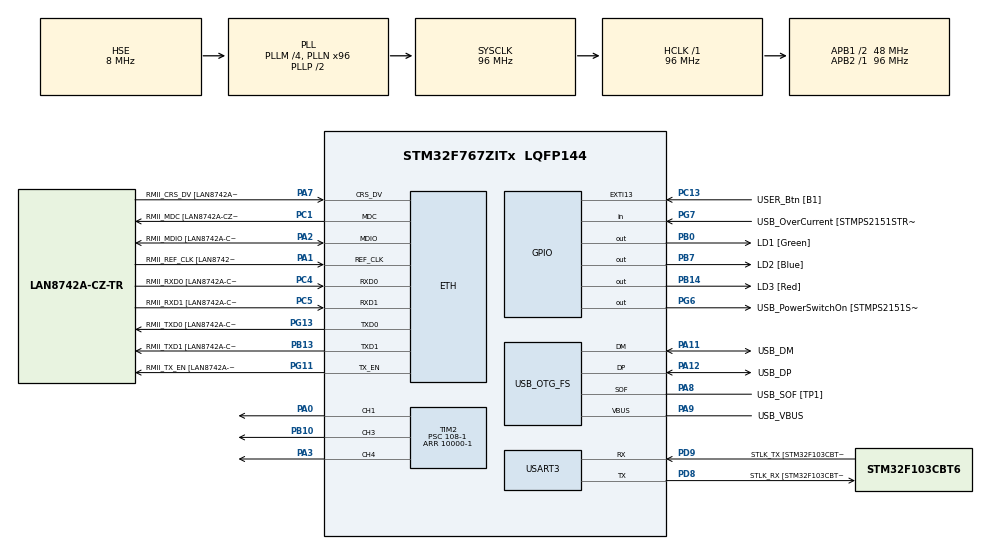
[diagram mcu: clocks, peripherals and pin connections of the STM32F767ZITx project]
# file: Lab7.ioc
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ETH.MediaInterface=HAL_ETH_RMII_MODE
ETH.PHY_Name=LAN8742A_PHY_ADDRESS
ETH.PHY_Value=0
ETH.PhyAddress=0
Mcu.Family=STM32F7
Mcu.Name=STM32F767ZITx
Mcu.Package=LQFP144
NVIC.PriorityGroup=NVIC_PRIORITYGROUP_4
PA0/WKUP.GPIO_Speed=GPIO_SPEED_FREQ_VERY_HIGH
PA0/WKUP.Signal=S_TIM2_CH1_ETR
PA1.GPIO_Label=RMII_REF_CLK [LAN8742A-CZ-TR_REFCLK0]
PA1.Mode=RMII
PA1.Signal=ETH_REF_CLK
PA10.GPIO_Label=USB_ID
PA10.Signal=USB_OTG_FS_ID
PA11.GPIO_Label=USB_DM
PA11.Mode=Device_Only
PA11.Signal=USB_OTG_FS_DM
PA12.GPIO_Label=USB_DP
PA12.Mode=Device_Only
PA12.Signal=USB_OTG_FS_DP
PA13.GPIO_Label=TMS
PA13.Mode=Serial_Wire
PA13.Signal=SYS_JTMS-SWDIO
PA14.GPIO_Label=TCK
PA14.Mode=Serial_Wire
PA14.Signal=SYS_JTCK-SWCLK
PA2.GPIO_Label=RMII_MDIO [LAN8742A-CZ-TR_MDIO]
PA2.Mode=RMII
PA2.Signal=ETH_MDIO
PA3.GPIO_PuPd=GPIO_NOPULL
PA3.GPIO_Speed=GPIO_SPEED_FREQ_VERY_HIGH
PA3.Signal=S_TIM2_CH4
PA7.GPIO_Label=RMII_CRS_DV [LAN8742A-CZ-TR_CRS_DV]
PA7.Mode=RMII
PA7.Signal=ETH_CRS_DV
PA8.GPIO_Label=USB_SOF [TP1]
PA8.Mode=Activate_SOF_FS
PA8.Signal=USB_OTG_FS_SOF
PA9.GPIO_Label=USB_VBUS
PA9.Mode=Activate_VBUS
PA9.Signal=USB_OTG_FS_VBUS
PB0.GPIO_Label=LD1 [Green]
PB0.Signal=GPIO_Output
PB10.GPIO_Speed=GPIO_SPEED_FREQ_VERY_HIGH
PB10.Signal=S_TIM2_CH3
PB13.GPIO_Label=RMII_TXD1 [LAN8742A-CZ-TR_TXD1]
PB13.Mode=RMII
PB13.Signal=ETH_TXD1
PB14.GPIO_Label=LD3 [Red]
PB14.Signal=GPIO_Output
PB3.GPIO_Label=SWO
PB3.Signal=SYS_JTDO-SWO
PB7.GPIO_Label=LD2 [Blue]
PB7.Signal=GPIO_Output
PC1.GPIO_Label=RMII_MDC [LAN8742A-CZ-TR_MDC]
PC1.Mode=RMII
PC1.Signal=ETH_MDC
PC13.GPIO_Label=USER_Btn [B1]
PC13.Signal=GPXTI13
PC14/OSC32_IN.Mode=LSE-External-Oscillator
PC14/OSC32_IN.Signal=RCC_OSC32_IN
PC15/OSC32_OUT.Mode=LSE-External-Oscillator
PC15/OSC32_OUT.Signal=RCC_OSC32_OUT
PC4.GPIO_Label=RMII_RXD0 [LAN8742A-CZ-TR_RXD0]
PC4.Mode=RMII
PC4.Signal=ETH_RXD0
PC5.GPIO_Label=RMII_RXD1 [LAN8742A-CZ-TR_RXD1]
PC5.Mode=RMII
PC5.Signal=ETH_RXD1
PD8.GPIO_Label=STLK_RX [STM32F103CBT6_PA3]
PD8.Mode=Asynchronous
PD8.Signal=USART3_TX
PD9.GPIO_Label=STLK_TX [STM32F103CBT6_PA2]
PD9.Mode=Asynchronous
PD9.Signal=USART3_RX
PG11.GPIO_Label=RMII_TX_EN [LAN8742A-CZ-TR_TXEN]
PG11.Mode=RMII
PG11.Signal=ETH_TX_EN
PG13.GPIO_Label=RMII_TXD0 [LAN8742A-CZ-TR_TXD0]
PG13.Mode=RMII
PG13.Signal=ETH_TXD0
PG6.GPIO_Label=USB_PowerSwitchOn [STMPS2151STR_EN]
PG6.Signal=GPIO_Output
PG7.GPIO_Label=USB_OverCurrent [STMPS2151STR_FAULT]
PG7.Signal=GPIO_Input
PH0/OSC_IN.GPIO_Label=MCO [STM32F103CBT6_PA8]
PH0/OSC_IN.Mode=HSE-External-Clock-Source
PH0/OSC_IN.Signal=RCC_OSC_IN
PH1/OSC_OUT.Mode=HSE-External-Clock-Source
PH1/OSC_OUT.Signal=RCC_OSC_OUT
ProjectManager.HeapSize=0x200
ProjectManager.StackSize=0x400
ProjectManager.TargetToolchain=CMake
RCC.48MHZClocksFreq_Value=24000000
RCC.AHBFreq_Value=96000000
RCC.APB1CLKDivider=RCC_HCLK_DIV2
RCC.APB1Freq_Value=48000000
RCC.APB1TimFreq_Value=96000000
RCC.APB2Freq_Value=96000000
RCC.APB2TimFreq_Value=96000000
RCC.CortexFreq_Value=96000000
RCC.HCLKFreq_Value=96000000
RCC.HSE_VALUE=8000000
RCC.HSI_VALUE=16000000
RCC.PLLM=4
RCC.PLLMUL=RCC_PLL_MUL9
RCC.PLLN=96
RCC.PLLQ=4
RCC.PRESCALERUSB=RCC_USBCLKSOURCE_PLL_DIV1_5
RCC.SYSCLKFreq_VALUE=96000000
RCC.SYSCLKSource=RCC_SYSCLKSOURCE_PLLCLK
RCC.SYSCLKSourceVirtual=RCC_SYSCLKSOURCE_PLLCLK
RCC.USBFreq_Value=48000000
RCC.VCOOutputFreq_Value=192000000
SH.S_TIM2_CH1_ETR.0=TIM2_CH1,PWM Generation1 CH1
SH.S_TIM2_CH3.0=TIM2_CH3,PWM Generation3 CH3
SH.S_TIM2_CH4.0=TIM2_CH4,PWM Generation4 CH4
TIM2.Channel-PWM\ Generation1\ CH1=TIM_CHANNEL_1
TIM2.Channel-PWM\ Generation3\ CH3=TIM_CHANNEL_3
TIM2.Channel-PWM\ Generation4\ CH4=TIM_CHANNEL_4
TIM2.Period=10000-1
TIM2.Prescaler=108-1
TIM2.Pulse-PWM\ Generation3\ CH3=10000/4-1
USART3.VirtualMode-Asynchronous=VM_ASYNC
USB_OTG_FS.VirtualMode=Device_Only
VP_TIM2_VS_ClockSourceINT.Mode=Internal
board=NUCLEO-F767ZI

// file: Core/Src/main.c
/* USER CODE BEGIN Header */
/**
  ******************************************************************************
  * @file           : main.c
  * @brief          : Main program body
  ******************************************************************************
  * @attention
  *
  * Copyright (c) 2025 STMicroelectronics.
  * All rights reserved.
  *
  * This software is licensed under terms that can be found in the LICENSE file
  * in the root directory of this software component.
  * If no LICENSE file comes with this software, it is provided AS-IS.
  *
  ******************************************************************************
  */
/* USER CODE END Header */
#include "main.h"
#include "stm32f7xx_hal.h"
#include "stm32f7xx_hal_tim.h"
#include "string.h"

/* USER CODE BEGIN Includes */
#include <stdio.h>

/* USER CODE END Includes */

#if defined ( __ICCARM__ ) /*!< IAR Compiler */
#pragma location=0x2007c000
ETH_DMADescTypeDef  DMARxDscrTab[ETH_RX_DESC_CNT]; /* Ethernet Rx DMA Descriptors */
#pragma location=0x2007c0a0
ETH_DMADescTypeDef  DMATxDscrTab[ETH_TX_DESC_CNT]; /* Ethernet Tx DMA Descriptors */

#elif defined ( __CC_ARM )  /* MDK ARM Compiler */

__attribute__((at(0x2007c000))) ETH_DMADescTypeDef  DMARxDscrTab[ETH_RX_DESC_CNT]; /* Ethernet Rx DMA Descriptors */
__attribute__((at(0x2007c0a0))) ETH_DMADescTypeDef  DMATxDscrTab[ETH_TX_DESC_CNT]; /* Ethernet Tx DMA Descriptors */

#elif defined ( __GNUC__ ) /* GNU Compiler */

ETH_DMADescTypeDef DMARxDscrTab[ETH_RX_DESC_CNT] __attribute__((section(".RxDecripSection"))); /* Ethernet Rx DMA Descriptors */
ETH_DMADescTypeDef DMATxDscrTab[ETH_TX_DESC_CNT] __attribute__((section(".TxDecripSection")));   /* Ethernet Tx DMA Descriptors */
#endif

ETH_TxPacketConfig TxConfig;

ETH_HandleTypeDef heth;

TIM_HandleTypeDef htim2;

UART_HandleTypeDef huart3;

PCD_HandleTypeDef hpcd_USB_OTG_FS;

/* USER CODE BEGIN PV */

typedef struct {
  GPIO_TypeDef *port;
  uint16_t pin;
} LED_Pin;
LED_Pin led_pins[] = {{GPIOB, GPIO_PIN_10},
                       {GPIOA, GPIO_PIN_0},
                       {GPIOA, GPIO_PIN_3}};

float dutyCycle[] = {0, 0, 0};
uint8_t pwm[] = {0, 0, 0};

uint8_t pwmRed = 0;
uint8_t pwmGreen = 0;
uint8_t pwmBlue = 0;

char charInput = '\0';

char displayPwmTemplate[] = "r: %.2f\tg: %.2f\tb: %.2f\r\n";
char displayPwmRender[50] = "\0";

/* USER CODE END PV */

void SystemClock_Config(void);
static void MX_GPIO_Init(void);
static void MX_ETH_Init(void);
static void MX_USART3_UART_Init(void);
static void MX_USB_OTG_FS_PCD_Init(void);
static void MX_TIM2_Init(void);

/* USER CODE BEGIN 0 */

void incrementDutyCycle(int index) {
  (dutyCycle[index]) += 0.2;
  if ((dutyCycle[index]) > 1) {
    (dutyCycle[index]) = 0;
  }

  switch (index) {
    case 0:
      htim2.Instance -> CCR3 = (10000-1) * dutyCycle[index];
      break;
    case 1:
      htim2.Instance -> CCR1 = (10000-1) * dutyCycle[index];
      break;
    case 2:
      htim2.Instance -> CCR4 = (10000-1) * dutyCycle[index];
      break;
  }
}

/* USER CODE END 0 */

int main(void)
{

  /* MCU Configuration--------------------------------------------------------*/

  /* Reset of all peripherals, Initializes the Flash interface and the Systick. */
  HAL_Init();

  /* Configure the system clock */
  SystemClock_Config();

  /* Initialize all configured peripherals */
  MX_GPIO_Init();
  MX_ETH_Init();
  MX_USART3_UART_Init();
  MX_USB_OTG_FS_PCD_Init();
  MX_TIM2_Init();
  /* USER CODE BEGIN 2 */
  HAL_TIM_PWM_Start(&htim2, TIM_CHANNEL_1);
  HAL_TIM_PWM_Start(&htim2, TIM_CHANNEL_3);
  HAL_TIM_PWM_Start(&htim2, TIM_CHANNEL_4);
  /* USER CODE END 2 */

  /* Infinite loop */
  while (1)
  {

    /* USER CODE BEGIN 3 */

    HAL_UART_Receive(&huart3, (uint8_t*) &charInput, 1, 100);
    switch (charInput) {
      case 'r':
        incrementDutyCycle(0);
        break;
      case 'g':
        incrementDutyCycle(1);
        break;
      case 'b':
        incrementDutyCycle(2);
        break;
    }

    charInput = '\0';
    // HAL_Delay(100);
    // HAL_TIM_PWM_Stop(&htim2, TIM_CHANNEL_1);
    // HAL_TIM_PWM_Stop(&htim2, TIM_CHANNEL_3);
    // HAL_TIM_PWM_Stop(&htim2, TIM_CHANNEL_4);
    pwmRed = (GPIOB->IDR & GPIO_PIN_10) >> 10;
    pwmGreen = ((GPIOA->IDR & GPIO_PIN_0) >> 0) + 2;
    pwmBlue = ((GPIOA->IDR & GPIO_PIN_3) >> 3) + 4;

    sprintf(displayPwmRender, displayPwmTemplate, dutyCycle[0], dutyCycle[1], dutyCycle[2]);
    HAL_UART_Transmit(&huart3, (uint8_t*) displayPwmRender, strlen(displayPwmRender), 100);
  }
  /* USER CODE END 3 */
}

void SystemClock_Config(void)
{
  RCC_OscInitTypeDef RCC_OscInitStruct = {0};
  RCC_ClkInitTypeDef RCC_ClkInitStruct = {0};

  /** Configure LSE Drive Capability
  */
  HAL_PWR_EnableBkUpAccess();

  /** Configure the main internal regulator output voltage
  */
  __HAL_RCC_PWR_CLK_ENABLE();
  __HAL_PWR_VOLTAGESCALING_CONFIG(PWR_REGULATOR_VOLTAGE_SCALE3);

  /** Initializes the RCC Oscillators according to the specified parameters
  * in the RCC_OscInitTypeDef structure.
  */
  RCC_OscInitStruct.OscillatorType = RCC_OSCILLATORTYPE_HSE;
  RCC_OscInitStruct.HSEState = RCC_HSE_BYPASS;
  RCC_OscInitStruct.PLL.PLLState = RCC_PLL_ON;
  RCC_OscInitStruct.PLL.PLLSource = RCC_PLLSOURCE_HSE;
  RCC_OscInitStruct.PLL.PLLM = 4;
  RCC_OscInitStruct.PLL.PLLN = 96;
  RCC_OscInitStruct.PLL.PLLP = RCC_PLLP_DIV2;
  RCC_OscInitStruct.PLL.PLLQ = 4;
  RCC_OscInitStruct.PLL.PLLR = 2;
  if (HAL_RCC_OscConfig(&RCC_OscInitStruct) != HAL_OK)
  {
    Error_Handler();
  }

  /** Activate the Over-Drive mode
  */
  if (HAL_PWREx_EnableOverDrive() != HAL_OK)
  {
    Error_Handler();
  }

  /** Initializes the CPU, AHB and APB buses clocks
  */
  RCC_ClkInitStruct.ClockType = RCC_CLOCKTYPE_HCLK|RCC_CLOCKTYPE_SYSCLK
                              |RCC_CLOCKTYPE_PCLK1|RCC_CLOCKTYPE_PCLK2;
  RCC_ClkInitStruct.SYSCLKSource = RCC_SYSCLKSOURCE_PLLCLK;
  RCC_ClkInitStruct.AHBCLKDivider = RCC_SYSCLK_DIV1;
  RCC_ClkInitStruct.APB1CLKDivider = RCC_HCLK_DIV2;
  RCC_ClkInitStruct.APB2CLKDivider = RCC_HCLK_DIV1;

  if (HAL_RCC_ClockConfig(&RCC_ClkInitStruct, FLASH_LATENCY_3) != HAL_OK)
  {
    Error_Handler();
  }
}

static void MX_ETH_Init(void)
{

   static uint8_t MACAddr[6];

  heth.Instance = ETH;
  MACAddr[0] = 0x00;
  MACAddr[1] = 0x80;
  MACAddr[2] = 0xE1;
  MACAddr[3] = 0x00;
  MACAddr[4] = 0x00;
  MACAddr[5] = 0x00;
  heth.Init.MACAddr = &MACAddr[0];
  heth.Init.MediaInterface = HAL_ETH_RMII_MODE;
  heth.Init.TxDesc = DMATxDscrTab;
  heth.Init.RxDesc = DMARxDscrTab;
  heth.Init.RxBuffLen = 1524;

  if (HAL_ETH_Init(&heth) != HAL_OK)
  {
    Error_Handler();
  }

  memset(&TxConfig, 0 , sizeof(ETH_TxPacketConfig));
  TxConfig.Attributes = ETH_TX_PACKETS_FEATURES_CSUM | ETH_TX_PACKETS_FEATURES_CRCPAD;
  TxConfig.ChecksumCtrl = ETH_CHECKSUM_IPHDR_PAYLOAD_INSERT_PHDR_CALC;
  TxConfig.CRCPadCtrl = ETH_CRC_PAD_INSERT;

}

static void MX_TIM2_Init(void)
{

  TIM_ClockConfigTypeDef sClockSourceConfig = {0};
  TIM_MasterConfigTypeDef sMasterConfig = {0};
  TIM_OC_InitTypeDef sConfigOC = {0};

  htim2.Instance = TIM2;
  htim2.Init.Prescaler = 108-1;
  htim2.Init.CounterMode = TIM_COUNTERMODE_UP;
  htim2.Init.Period = 10000-1;
  htim2.Init.ClockDivision = TIM_CLOCKDIVISION_DIV1;
  htim2.Init.AutoReloadPreload = TIM_AUTORELOAD_PRELOAD_DISABLE;
  if (HAL_TIM_Base_Init(&htim2) != HAL_OK)
  {
    Error_Handler();
  }
  sClockSourceConfig.ClockSource = TIM_CLOCKSOURCE_INTERNAL;
  if (HAL_TIM_ConfigClockSource(&htim2, &sClockSourceConfig) != HAL_OK)
  {
    Error_Handler();
  }
  if (HAL_TIM_PWM_Init(&htim2) != HAL_OK)
  {
    Error_Handler();
  }
  sMasterConfig.MasterOutputTrigger = TIM_TRGO_RESET;
  sMasterConfig.MasterSlaveMode = TIM_MASTERSLAVEMODE_DISABLE;
  if (HAL_TIMEx_MasterConfigSynchronization(&htim2, &sMasterConfig) != HAL_OK)
  {
    Error_Handler();
  }
  sConfigOC.OCMode = TIM_OCMODE_PWM1;
  sConfigOC.Pulse = 0;
  sConfigOC.OCPolarity = TIM_OCPOLARITY_HIGH;
  sConfigOC.OCFastMode = TIM_OCFAST_DISABLE;
  if (HAL_TIM_PWM_ConfigChannel(&htim2, &sConfigOC, TIM_CHANNEL_1) != HAL_OK)
  {
    Error_Handler();
  }
  sConfigOC.Pulse = 10000/4-1;
  if (HAL_TIM_PWM_ConfigChannel(&htim2, &sConfigOC, TIM_CHANNEL_3) != HAL_OK)
  {
    Error_Handler();
  }
  sConfigOC.Pulse = 0;
  if (HAL_TIM_PWM_ConfigChannel(&htim2, &sConfigOC, TIM_CHANNEL_4) != HAL_OK)
  {
    Error_Handler();
  }
  HAL_TIM_MspPostInit(&htim2);

}

static void MX_USART3_UART_Init(void)
{

  huart3.Instance = USART3;
  huart3.Init.BaudRate = 115200;
  huart3.Init.WordLength = UART_WORDLENGTH_8B;
  huart3.Init.StopBits = UART_STOPBITS_1;
  huart3.Init.Parity = UART_PARITY_NONE;
  huart3.Init.Mode = UART_MODE_TX_RX;
  huart3.Init.HwFlowCtl = UART_HWCONTROL_NONE;
  huart3.Init.OverSampling = UART_OVERSAMPLING_16;
  huart3.Init.OneBitSampling = UART_ONE_BIT_SAMPLE_DISABLE;
  huart3.AdvancedInit.AdvFeatureInit = UART_ADVFEATURE_NO_INIT;
  if (HAL_UART_Init(&huart3) != HAL_OK)
  {
    Error_Handler();
  }

}

static void MX_USB_OTG_FS_PCD_Init(void)
{

  hpcd_USB_OTG_FS.Instance = USB_OTG_FS;
  hpcd_USB_OTG_FS.Init.dev_endpoints = 6;
  hpcd_USB_OTG_FS.Init.speed = PCD_SPEED_FULL;
  hpcd_USB_OTG_FS.Init.dma_enable = DISABLE;
  hpcd_USB_OTG_FS.Init.phy_itface = PCD_PHY_EMBEDDED;
  hpcd_USB_OTG_FS.Init.Sof_enable = ENABLE;
  hpcd_USB_OTG_FS.Init.low_power_enable = DISABLE;
  hpcd_USB_OTG_FS.Init.lpm_enable = DISABLE;
  hpcd_USB_OTG_FS.Init.vbus_sensing_enable = ENABLE;
  hpcd_USB_OTG_FS.Init.use_dedicated_ep1 = DISABLE;
  if (HAL_PCD_Init(&hpcd_USB_OTG_FS) != HAL_OK)
  {
    Error_Handler();
  }

}

static void MX_GPIO_Init(void)
{
  GPIO_InitTypeDef GPIO_InitStruct = {0};

  /* GPIO Ports Clock Enable */
  __HAL_RCC_GPIOC_CLK_ENABLE();
  __HAL_RCC_GPIOH_CLK_ENABLE();
  __HAL_RCC_GPIOA_CLK_ENABLE();
  __HAL_RCC_GPIOB_CLK_ENABLE();
  __HAL_RCC_GPIOD_CLK_ENABLE();
  __HAL_RCC_GPIOG_CLK_ENABLE();

  /*Configure GPIO pin Output Level */
  HAL_GPIO_WritePin(GPIOB, LD1_Pin|LD3_Pin|LD2_Pin, GPIO_PIN_RESET);

  /*Configure GPIO pin Output Level */
  HAL_GPIO_WritePin(USB_PowerSwitchOn_GPIO_Port, USB_PowerSwitchOn_Pin, GPIO_PIN_RESET);

  /*Configure GPIO pin : USER_Btn_Pin */
  GPIO_InitStruct.Pin = USER_Btn_Pin;
  GPIO_InitStruct.Mode = GPIO_MODE_IT_RISING;
  GPIO_InitStruct.Pull = GPIO_NOPULL;
  HAL_GPIO_Init(USER_Btn_GPIO_Port, &GPIO_InitStruct);

  /*Configure GPIO pins : LD1_Pin LD3_Pin LD2_Pin */
  GPIO_InitStruct.Pin = LD1_Pin|LD3_Pin|LD2_Pin;
  GPIO_InitStruct.Mode = GPIO_MODE_OUTPUT_PP;
  GPIO_InitStruct.Pull = GPIO_NOPULL;
  GPIO_InitStruct.Speed = GPIO_SPEED_FREQ_LOW;
  HAL_GPIO_Init(GPIOB, &GPIO_InitStruct);

  /*Configure GPIO pin : USB_PowerSwitchOn_Pin */
  GPIO_InitStruct.Pin = USB_PowerSwitchOn_Pin;
  GPIO_InitStruct.Mode = GPIO_MODE_OUTPUT_PP;
  GPIO_InitStruct.Pull = GPIO_NOPULL;
  GPIO_InitStruct.Speed = GPIO_SPEED_FREQ_LOW;
  HAL_GPIO_Init(USB_PowerSwitchOn_GPIO_Port, &GPIO_InitStruct);

  /*Configure GPIO pin : USB_OverCurrent_Pin */
  GPIO_InitStruct.Pin = USB_OverCurrent_Pin;
  GPIO_InitStruct.Mode = GPIO_MODE_INPUT;
  GPIO_InitStruct.Pull = GPIO_NOPULL;
  HAL_GPIO_Init(USB_OverCurrent_GPIO_Port, &GPIO_InitStruct);

}

void Error_Handler(void)
{
  __disable_irq();
  while (1)
  {
  }
}
